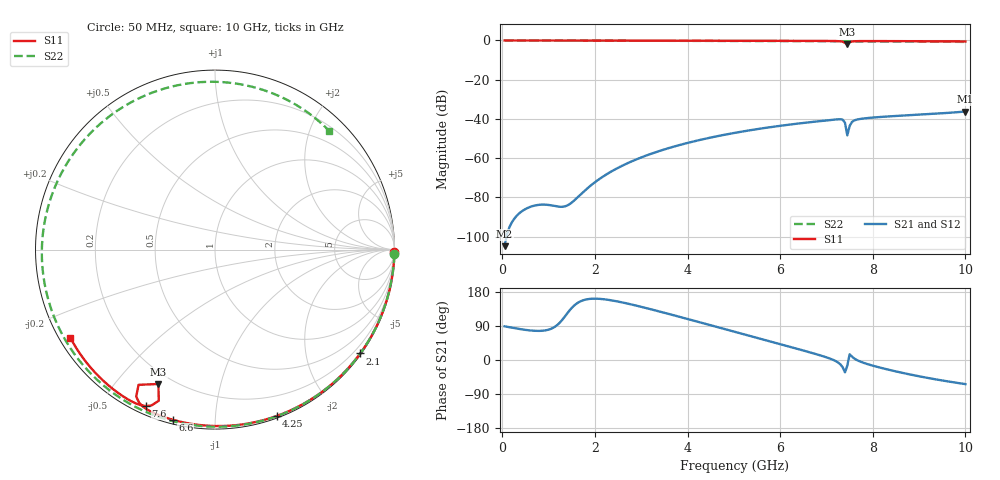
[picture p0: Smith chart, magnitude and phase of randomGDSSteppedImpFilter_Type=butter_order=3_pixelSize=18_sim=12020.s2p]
! freq	dB(S11)	phase(S11)	dB(S12)	phase(S12)
!  dB(S21)	phase(S21)	dB(S22)	phase(S22)
!S-par simulation data
#  GHz  S  DB  R 50
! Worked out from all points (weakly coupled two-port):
!   200 points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, 50 MHz to 10 GHz, reference 50 ohm
!   highest |S21| = -36.22 dB at 10 GHz (marker M1); lowest = -104.9 dB at 50 MHz (marker M2)
!   lowest |S11| = -1.8 dB at 7.45 GHz (marker M3), VSWR 9.67, Z = 7.41 - j32.7 ohm
!   |S11| at or under -10 dB: nowhere
!   |S22| runs from -0.7 to 0.0 dB; largest |S21 - S12| = 0
!   S11 on the Smith chart (normalised r, x): 50 MHz: open; 2.1 GHz: 0.03, -3.12; 4.25 GHz: 0.02, -1.44; 6.6 GHz: 0.02, -0.78; 7.6 GHz: 0.03, -0.65; 10 GHz: 0.03, -0.28
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0.05  -0.00 -0.9  -104.86 88.8  -104.86 88.8  -0.00 -1.6
0.8  -0.02 -13.7  -83.77 76.8  -83.77 76.8  -0.03 -24.6
1.6  -0.03 -27.3  -80.53 148.5  -80.53 148.5  -0.06 -48.6
1.75  -0.04 -29.8  -77.21 157.8  -77.21 157.8  -0.07 -53.1
2.1  -0.05 -35.6  -70.58 161.4  -70.58 161.4  -0.08 -63.3
2.7  -0.06 -45.4  -62.62 149.0  -62.62 149.0  -0.10 -80.4
3.4  -0.08 -56.5  -56.28 127.8  -56.28 127.8  -0.13 -99.9
4.25  -0.10 -69.7  -50.81 100.0  -50.81 100.0  -0.17 -123.1
5.05  -0.13 -81.6  -46.97 73.4  -46.97 73.4  -0.22 -144.9
5.85  -0.16 -93.2  -43.99 46.8  -43.99 46.8  -0.28 -167.2
6.6  -0.20 -104.0  -41.78 21.7  -41.78 21.7  -0.34 170.9
6.7  -0.21 -105.5  -41.52 18.2  -41.52 18.2  -0.35 167.8
7.2  -0.30 -113.7  -40.30 -2.9  -40.30 -2.9  -0.40 152.1
7.35  -0.64 -118.2  -40.39 -19.1  -40.39 -19.1  -0.41 147.2
7.4  -1.26 -119.5  -41.95 -32.6  -41.95 -32.6  -0.42 145.6
7.45  -1.80 -112.8  -48.37 -14.9  -48.37 -14.9  -0.43 143.9
7.5  -0.93 -110.4  -43.61 14.9  -43.61 14.9  -0.43 142.3
7.6  -0.42 -113.9  -40.79 4.1  -40.79 4.1  -0.44 138.9
8.35  -0.33 -126.3  -38.71 -25.9  -38.71 -25.9  -0.52 112.3
8.8  -0.37 -132.5  -38.09 -38.1  -38.09 -38.1  -0.57 95.1
9.2  -0.41 -137.9  -37.56 -47.6  -37.56 -47.6  -0.62 79.2
10  -0.50 -148.6  -36.22 -63.6  -36.22 -63.6  -0.75 46.1
